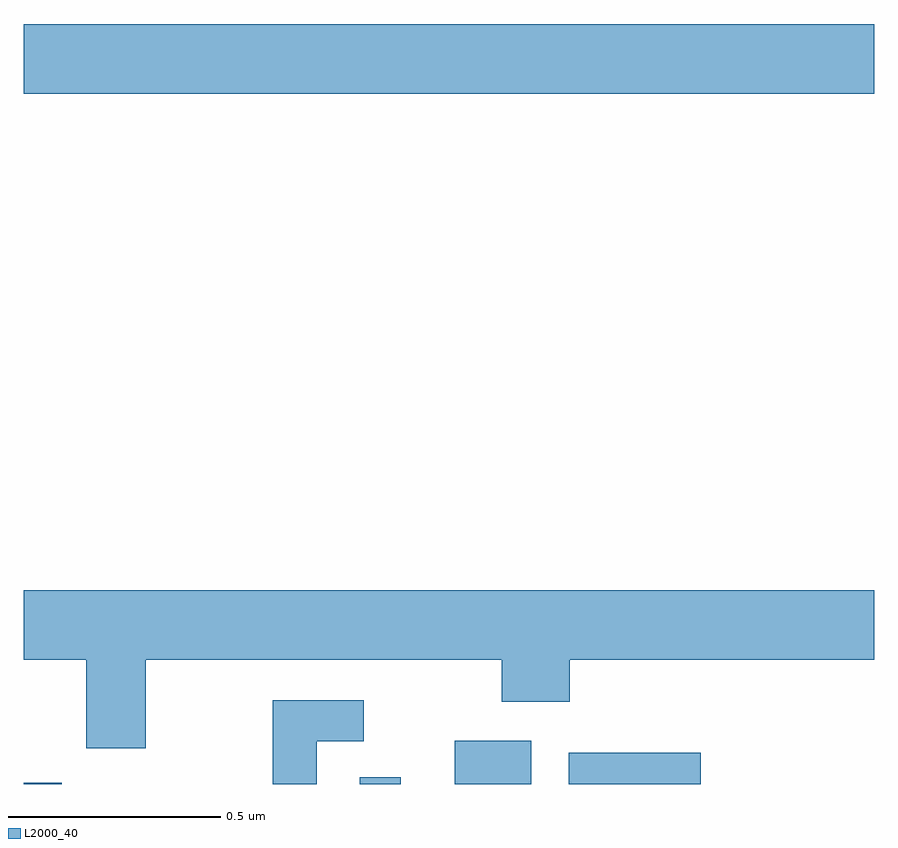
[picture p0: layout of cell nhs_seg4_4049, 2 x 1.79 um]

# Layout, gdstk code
import gdstk
lib = gdstk.Library(unit=1e-6, precision=1e-09)
def R(c, l, rs):  # rectangles x0, y0, x1, y1
    for r in rs: c.add(gdstk.rectangle(r[:2], r[2:], *l))
def P(c, l, *ps):  # polygons
    for p in ps: c.add(gdstk.Polygon(p, *l))
L2000_40 = (2000, 40)

nhs_seg4_4049 = lib.new_cell('nhs_seg4_4049')
R(nhs_seg4_4049, L2000_40, [(161,757.9,161.089,757.903), (161.79,757.9,161.886,757.916), (162.014,757.9,162.193,758.002), (162.282,757.9,162.592,757.974), (161,759.524,163,759.688)])
P(nhs_seg4_4049, L2000_40, [(161.287,758.192),(162.124,758.192),(162.124,758.093),(162.284,758.093),(162.284,758.192),(163,758.192),(163,758.356),(161,758.356),(161,758.192),(161.147,758.192),(161.147,757.984),(161.287,757.984)],
  [(161.689,758.001),(161.8,758.001),(161.8,758.097),(161.585,758.097),(161.585,757.9),(161.689,757.9)])

lib.write_gds('nhs_seg4_4049.gds')
